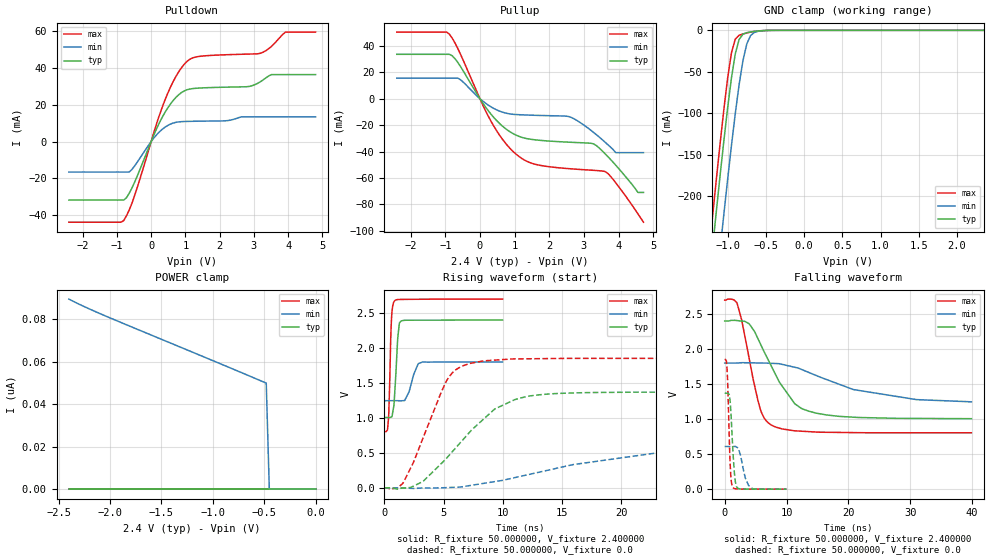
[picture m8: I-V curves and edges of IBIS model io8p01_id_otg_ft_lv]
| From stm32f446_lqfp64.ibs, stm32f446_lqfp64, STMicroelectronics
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|   Model io8p01_id_otg_ft_lv
[Model]  io8p01_id_otg_ft_lv
Model_type I/O
Polarity   Non-Inverting
Enable   Active-Low
Vinl =   0.720000V
Vinh =   1.680000V
Vmeas =  1.200000V
Cref =   50.000000pF
Rref =   100.000000M
Vref =   0.0V
C_comp   2.229800pF   2.169700pF   2.325100pF
[Temperature Range]   25.000000   0.125000k   -40.000000
[Pullup Reference]   2.400000V   1.800000V   2.700000V
[Pulldown Reference]   0.0V   0.0V   0.0V
[POWER Clamp Reference]   2.400000V   1.800000V   2.700000V
[GND Clamp Reference]   0.0V   0.0V   0.0V
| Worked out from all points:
|   slope of the pulldown table from 0 to 0.36 V, typ, clamps not added: 25 ohm
|   slope of the pullup table from 0 to 0.36 V, typ, clamps not added: 27.7 ohm
|   GND clamp passes 1 mA (typ) near -0.62 V on its own axis
|   rising waveform, R_fixture 50.000000, V_fixture 2.400000: 20-80 % time 273ps typ, 608ps min, 183ps max; typ from 1.01 V to 2.4 V
|   rising waveform, R_fixture 50.000000, V_fixture 0.0: 20-80 % time 4.75ns typ, 12.1ns min, 2.64ns max; typ from 0 V to 1.37 V
|   falling waveform, R_fixture 50.000000, V_fixture 2.400000: 20-80 % time 5.28ns typ, 12.4ns min, 2.67ns max; typ from 2.4 V to 1.01 V
|   falling waveform, R_fixture 50.000000, V_fixture 0.0: 20-80 % time 525ps typ, 978ps min, 384ps max; typ from 1.37 V to 0 V
[Pulldown]
|Voltage   I(typ)   I(min)   I(max)
-2.4V     -31.73mA   -16.51mA   -43.74mA
-800mV    -31.73mA   -16.51mA   -42.87mA
-480mV    -21.98mA   -13.17mA   -29.21mA
80mV      3.63mA     1.966mA    5.014mA
480mV     18.16mA    8.738mA    26.02mA
800mV     25.38mA    10.72mA    37.77mA
1.12V     28.53mA    11.02mA    44.6mA
2.8V      29.84mA    13.49mA    47.53mA
3.2V      32.65mA    13.49mA    48.05mA
3.52V     36.43mA    13.49mA    51.84mA
3.92V     36.43mA    13.49mA    59.49mA
4.8V      36.43mA    13.49mA    59.49mA
[Pullup]
|Voltage   I(typ)   I(min)   I(max)
-2.4V     33.57mA    15.56mA    50.37mA
-960mV    33.57mA    15.56mA    50.37mA
-560mV    24.29mA    14.3mA     33.55mA
320mV     -11.75mA   -6.207mA   -17.08mA
960mV     -26.47mA   -11.82mA   -40.02mA
1.52V     -30.88mA   -12.51mA   -49.05mA
2.56V     -32.88mA   -13.48mA   -52.9mA
3.28V     -34.19mA   -25.52mA   -54.18mA
3.6V      -41.31mA   -32.62mA   -54.97mA
3.92V     -50.32mA   -40.8mA    -63.63mA
4.56V     -70.9mA    -40.8mA    -87.08mA
4.72V     -70.9mA    -40.8mA    -93.4mA
[GND_clamp]
|Voltage   I(typ)   I(min)   I(max)
-2.4V     -1.424A    -1.508A    -1.393A
-1.25V    -311.2mA   -401.9mA   -273.3mA
-1.2V     -265.4mA   -356.1mA   -227.2mA
-1.15V    -220.4mA   -310.8mA   -181.9mA
-1.1V     -176.3mA   -266.2mA   -137.9mA
-1.05V    -133.8mA   -222.5mA   -95.88mA
-950mV    -57.31mA   -138.9mA   -26.99mA
-900mV    -28.28mA   -100.4mA   -10.61mA
-850mV    -11.02mA   -65.55mA   -5.978mA
-750mV    -2.847mA   -16.51mA   -3.192mA
-600mV    -755.4uA   -1.17mA    -743.6uA
2.35V     0A         0A         0A
[POWER_clamp]
|Voltage   I(typ)   I(min)   I(max)
-2.4V     0A         89.62nA    0A
-2.04V    0A         81.58nA    0A
-480mV    0A         50.01nA    0A
-450mV    0A         0A         0A
0V        0A         0A         0A
[Ramp]
| variable   typ   min   max
dV/dt_r  0.82218/4.74154n   0.38456/12.99182n   1.11108/2.63393n
dV/dt_f  0.83670/5.27520n   0.32352/13.32667n   1.13759/2.66685n
R_load = 50.000000
[Rising Waveform]
R_fixture= 50.000000
V_fixture= 2.400000
V_fixture_min= 1.800000
V_fixture_max= 2.700000
|time   V(typ)   V(min)   V(max)
0s        1.006V     1.247V     804.6mV
260.3ps   1.006V     1.247V     831mV
340.3ps   1.006V     1.247V     988.2mV
600.6ps   1.014V     1.247V     2.436V
860.9ps   1.34V      1.247V     2.675V
1.121ns   2.14V      1.247V     2.692V
1.381ns   2.382V     1.245V     2.694V
1.722ns   2.396V     1.255V     2.695V
3.183ns   2.398V     1.798V     2.697V
9.97ns    2.4V       1.8V       2.7V
[Rising Waveform]
R_fixture= 50.000000
V_fixture= 0.0
V_fixture_min= 0.0
V_fixture_max= 0.0
|time   V(typ)   V(min)   V(max)
0s        177.8uV    73.73uV    445uV
1.602ns   -2.723mV   -101.4uV   77.63mV
3.283ns   97.06mV    -710.2uV   724.6mV
5.205ns   417.9mV    3.855mV    1.52V
6.006ns   570.5mV    9.468mV    1.686V
7.127ns   784.3mV    31.44mV    1.775V
9.369ns   1.133V     91.56mV    1.828V
12.97ns   1.329V     221.7mV    1.847V
24.82ns   1.369V     543.2mV    1.852V
39.88ns   1.37V      609mV      1.852V
[Falling Waveform]
R_fixture= 50.000000
V_fixture= 2.400000
V_fixture_min= 1.800000
V_fixture_max= 2.700000
|time   V(typ)   V(min)   V(max)
0s        2.4V       1.8V       2.7V
2.002ns   2.407V     1.801V     2.655V
2.723ns   2.4V       1.805V     2.423V
3.924ns   2.363V     1.805V     1.881V
5.766ns   2.075V     1.8V       1.137V
7.608ns   1.745V     1.796V     912.4mV
11.37ns   1.216V     1.739V     832.7mV
14.81ns   1.085V     1.622V     815.3mV
20.82ns   1.027V     1.422V     807.5mV
39.88ns   1.006V     1.247V     804.6mV
[Falling Waveform]
R_fixture= 50.000000
V_fixture= 0.0
V_fixture_min= 0.0
V_fixture_max= 0.0
|time   V(typ)   V(min)   V(max)
0s        1.37V      609mV      1.852V
380.4ps   1.37V      609.1mV    1.72V
480.5ps   1.37V      609mV      1.523V
880.9ps   1.257V     608.8mV    366mV
1.061ns   1.004V     608.6mV    117.8mV
1.281ns   623.1mV    608.4mV    33.14mV
1.702ns   120.4mV    610.5mV    6.105mV
2.102ns   16.2mV     591.5mV    3.034mV
3.864ns   1.015mV    53.33mV    1.346mV
9.97ns    177.8uV    73.73uV    445uV
